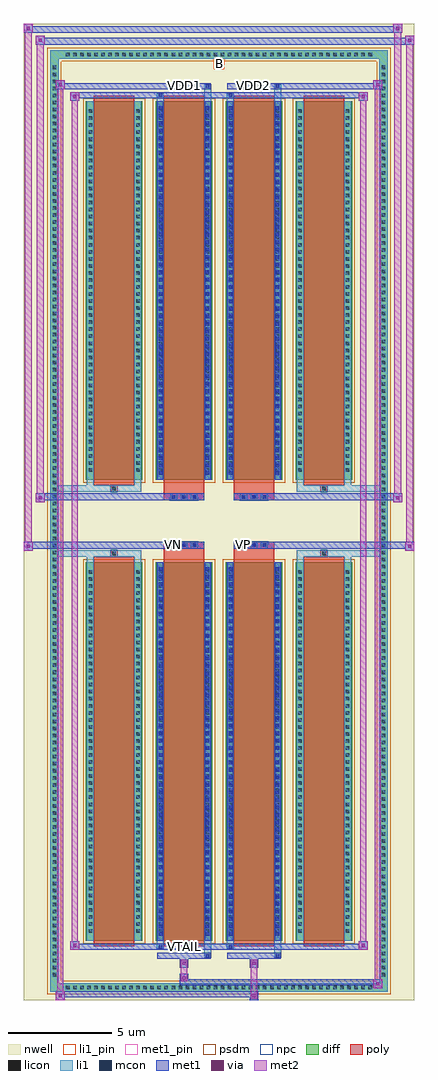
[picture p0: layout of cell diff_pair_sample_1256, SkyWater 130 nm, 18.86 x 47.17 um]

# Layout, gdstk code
import gdstk
lib = gdstk.Library(unit=1e-6, precision=5e-09)
def R(c, l, rs):  # rectangles x0, y0, x1, y1
    for r in rs: c.add(gdstk.rectangle(r[:2], r[2:], *l))
def A(c, l, x, y, w, h, nx, ny, dx, dy):  # array of equal rectangles
    R(c, l, [(x+i*dx, y+j*dy, x+i*dx+w, y+j*dy+h) for i in range(nx) for j in range(ny)])
def P(c, l, *ps):  # polygons
    for p in ps: c.add(gdstk.Polygon(p, *l))
nwell = (64, 20)
diff = (65, 20)
poly = (66, 20)
licon = (66, 44)
li1_pin = (67, 16)
li1 = (67, 20)
mcon = (67, 44)
met1_pin = (68, 16)
met1 = (68, 20)
via = (68, 44)
met2 = (69, 20)
psdm = (94, 20)
npc = (95, 20)

diff_pair_sample_1256 = lib.new_cell('diff_pair_sample_1256')
R(diff_pair_sample_1256, nwell, [(-9.43,-23.15,9.43,24.02), (-6.75,-21.34,-0.01,-0.8), (0.01,-21.34,6.75,-0.8), (-6.75,0.8,-0.01,21.34), (0.01,0.8,6.75,21.34)])
A(diff_pair_sample_1256, diff, -7.515, -22.75, 0.41, 0.41, 44, 2, 0.34, 45.09)
A(diff_pair_sample_1256, diff, -8.16, -22.135, 0.41, 0.41, 1, 130, 0, 0.34)
A(diff_pair_sample_1256, diff, 7.75, -22.135, 0.41, 0.41, 1, 130, 0, 0.34)
A(diff_pair_sample_1256, diff, -6.44, -20.295, 2.74, 18.31, 4, 2, 3.38, 22.28)
R(diff_pair_sample_1256, diff, [(-7.515,-22.75,7.515,-22.34), (-8.16,-22.135,-7.75,22.135), (7.75,-22.135,8.16,22.135), (-7.515,22.34,7.515,22.75)])
P(diff_pair_sample_1256, diff, [(8.16,22.75),(-8.16,22.75),(-8.16,-22.34),(-7.75,-22.34),(-7.75,22.34),(7.75,22.34),(7.75,-22.34),(-7.75,-22.34),(-8.16,-22.34),(-8.16,-22.75),(8.16,-22.75)])
A(diff_pair_sample_1256, poly, -6.05, -20.545, 1.96, 18.81, 4, 2, 3.38, 22.28)
A(diff_pair_sample_1256, poly, -2.355, -1.33, 0.33, 0.33, 3, 2, 0.5, 2.33)
A(diff_pair_sample_1256, poly, 1.025, -1.33, 0.33, 0.33, 3, 2, 0.5, 2.33)
R(diff_pair_sample_1256, poly, [(-5.235,-1.735,-4.905,-1.405), (-5.235,-1.735,-4.905,-1.405), (-2.67,-1.735,-0.71,-1.33), (0.71,-1.735,2.67,-1.33), (4.905,-1.735,5.235,-1.405), (4.905,-1.735,5.235,-1.405), (-2.67,-1.33,-0.71,-1), (0.71,-1.33,2.67,-1), (-2.67,1,-0.71,1.33), (0.71,1,2.67,1.33), (-2.67,1.33,-0.71,1.735), (0.71,1.33,2.67,1.735), (-5.235,1.405,-4.905,1.735), (-5.235,1.405,-4.905,1.735), (4.905,1.405,5.235,1.735), (4.905,1.405,5.235,1.735)])
A(diff_pair_sample_1256, licon, -7.395, -22.63, 0.17, 0.17, 44, 2, 0.34, 45.09)
A(diff_pair_sample_1256, licon, -8.04, -22.015, 0.17, 0.17, 1, 130, 0, 0.34)
A(diff_pair_sample_1256, licon, 7.87, -22.015, 0.17, 0.17, 1, 130, 0, 0.34)
A(diff_pair_sample_1256, licon, -6.3, -19.895, 0.17, 0.17, 1, 52, 0, 0.34)
A(diff_pair_sample_1256, licon, -4.01, -19.895, 0.17, 0.17, 1, 52, 0, 0.34)
A(diff_pair_sample_1256, licon, -2.92, -19.895, 0.17, 0.17, 1, 52, 0, 0.34)
A(diff_pair_sample_1256, licon, -0.63, -19.895, 0.17, 0.17, 1, 52, 0, 0.34)
A(diff_pair_sample_1256, licon, 0.46, -19.895, 0.17, 0.17, 1, 52, 0, 0.34)
A(diff_pair_sample_1256, licon, 2.75, -19.895, 0.17, 0.17, 1, 52, 0, 0.34)
A(diff_pair_sample_1256, licon, 3.84, -19.895, 0.17, 0.17, 1, 52, 0, 0.34)
A(diff_pair_sample_1256, licon, 6.13, -19.895, 0.17, 0.17, 1, 52, 0, 0.34)
A(diff_pair_sample_1256, licon, -2.275, -1.25, 0.17, 0.17, 3, 2, 0.5, 2.33)
A(diff_pair_sample_1256, licon, 1.105, -1.25, 0.17, 0.17, 3, 2, 0.5, 2.33)
A(diff_pair_sample_1256, licon, -6.3, 2.385, 0.17, 0.17, 1, 52, 0, 0.34)
A(diff_pair_sample_1256, licon, -4.01, 2.385, 0.17, 0.17, 1, 52, 0, 0.34)
A(diff_pair_sample_1256, licon, -2.92, 2.385, 0.17, 0.17, 1, 52, 0, 0.34)
A(diff_pair_sample_1256, licon, -0.63, 2.385, 0.17, 0.17, 1, 52, 0, 0.34)
A(diff_pair_sample_1256, licon, 0.46, 2.385, 0.17, 0.17, 1, 52, 0, 0.34)
A(diff_pair_sample_1256, licon, 2.75, 2.385, 0.17, 0.17, 1, 52, 0, 0.34)
A(diff_pair_sample_1256, licon, 3.84, 2.385, 0.17, 0.17, 1, 52, 0, 0.34)
A(diff_pair_sample_1256, licon, 6.13, 2.385, 0.17, 0.17, 1, 52, 0, 0.34)
R(diff_pair_sample_1256, licon, [(-5.155,-1.655,-4.985,-1.485), (4.985,-1.655,5.155,-1.485), (-5.155,1.485,-4.985,1.655), (4.985,1.485,5.155,1.655)])
R(diff_pair_sample_1256, li1_pin, [(-0.25,21.84,0.25,22.34)])
A(diff_pair_sample_1256, li1, -7.475, -22.71, 0.33, 0.33, 44, 2, 0.34, 45.09)
A(diff_pair_sample_1256, li1, -8.12, -22.095, 0.33, 0.33, 1, 130, 0, 0.34)
A(diff_pair_sample_1256, li1, 7.79, -22.095, 0.33, 0.33, 1, 130, 0, 0.34)
A(diff_pair_sample_1256, li1, -2.92, -20.045, 0.17, 0.17, 1, 50, 0, 0.36)
A(diff_pair_sample_1256, li1, -0.63, -20.045, 0.17, 0.17, 1, 50, 0, 0.36)
A(diff_pair_sample_1256, li1, 0.46, -20.045, 0.17, 0.17, 1, 50, 0, 0.36)
A(diff_pair_sample_1256, li1, 2.75, -20.045, 0.17, 0.17, 1, 50, 0, 0.36)
A(diff_pair_sample_1256, li1, -6.38, -19.975, 0.33, 0.33, 1, 52, 0, 0.34)
A(diff_pair_sample_1256, li1, -4.09, -19.975, 0.33, 0.33, 1, 52, 0, 0.34)
A(diff_pair_sample_1256, li1, -3, -19.975, 0.33, 0.33, 1, 52, 0, 0.34)
A(diff_pair_sample_1256, li1, -0.71, -19.975, 0.33, 0.33, 1, 52, 0, 0.34)
A(diff_pair_sample_1256, li1, 0.38, -19.975, 0.33, 0.33, 1, 52, 0, 0.34)
A(diff_pair_sample_1256, li1, 2.67, -19.975, 0.33, 0.33, 1, 52, 0, 0.34)
A(diff_pair_sample_1256, li1, 3.76, -19.975, 0.33, 0.33, 1, 52, 0, 0.34)
A(diff_pair_sample_1256, li1, 6.05, -19.975, 0.33, 0.33, 1, 52, 0, 0.34)
A(diff_pair_sample_1256, li1, -2.355, -1.33, 0.33, 0.33, 3, 2, 0.5, 2.33)
A(diff_pair_sample_1256, li1, 1.025, -1.33, 0.33, 0.33, 3, 2, 0.5, 2.33)
A(diff_pair_sample_1256, li1, -2.92, 2.235, 0.17, 0.17, 1, 50, 0, 0.36)
A(diff_pair_sample_1256, li1, -0.63, 2.235, 0.17, 0.17, 1, 50, 0, 0.36)
A(diff_pair_sample_1256, li1, 0.46, 2.235, 0.17, 0.17, 1, 50, 0, 0.36)
A(diff_pair_sample_1256, li1, 2.75, 2.235, 0.17, 0.17, 1, 50, 0, 0.36)
A(diff_pair_sample_1256, li1, -6.38, 2.305, 0.33, 0.33, 1, 52, 0, 0.34)
A(diff_pair_sample_1256, li1, -4.09, 2.305, 0.33, 0.33, 1, 52, 0, 0.34)
A(diff_pair_sample_1256, li1, -3, 2.305, 0.33, 0.33, 1, 52, 0, 0.34)
A(diff_pair_sample_1256, li1, -0.71, 2.305, 0.33, 0.33, 1, 52, 0, 0.34)
A(diff_pair_sample_1256, li1, 0.38, 2.305, 0.33, 0.33, 1, 52, 0, 0.34)
A(diff_pair_sample_1256, li1, 2.67, 2.305, 0.33, 0.33, 1, 52, 0, 0.34)
A(diff_pair_sample_1256, li1, 3.76, 2.305, 0.33, 0.33, 1, 52, 0, 0.34)
A(diff_pair_sample_1256, li1, 6.05, 2.305, 0.33, 0.33, 1, 52, 0, 0.34)
R(diff_pair_sample_1256, li1, [(-8.16,-22.75,-7.75,-22.34), (-8.16,-22.75,-7.75,-22.34), (-7.75,-22.75,7.75,-22.34), (7.75,-22.75,8.16,-22.34), (7.75,-22.75,8.16,-22.34), (-8.16,-22.34,-7.75,22.34), (7.75,-22.34,8.16,22.34), (-0.71,-21.1,-0.38,-20.295), (-0.63,-21.1,-0.46,-20.93), (2.67,-21.1,3,-20.295), (2.75,-21.1,2.92,-20.93), (-3,-20.67,-2.67,-20.295), (-2.92,-20.67,-2.75,-20.5), (0.38,-20.67,0.71,-20.295), (0.46,-20.67,0.63,-20.5), (-6.38,-20.295,-6.05,-1.985), (-4.09,-20.295,-3.76,-1.985), (-3,-20.295,-2.67,-1.985), (-0.71,-20.295,-0.38,-1.985), (0.38,-20.295,0.71,-1.985), (2.67,-20.295,3,-1.985), (3.76,-20.295,4.09,-1.985), (6.05,-20.295,6.38,-1.985), (-2.92,-20.045,-2.75,-2.235), (-0.63,-20.045,-0.46,-2.235), (0.46,-20.045,0.63,-2.235), (2.75,-20.045,2.92,-2.235), (-6.38,-1.985,-6.05,-1.405), (-4.09,-1.985,-3.76,-1.405), (3.76,-1.985,4.09,-1.405), (6.05,-1.985,6.38,-1.405), (-8.16,-1.735,-5.235,-1.405), (-6.38,-1.735,-5.235,-1.405), (-5.235,-1.735,-4.905,-1.405), (-4.905,-1.735,-3.76,-1.405), (3.76,-1.735,4.905,-1.405), (4.905,-1.735,5.235,-1.405), (4.905,-1.735,8.16,-1.405), (5.235,-1.735,6.38,-1.405), (-8.16,1.405,-5.235,1.735), (-6.38,1.405,-5.235,1.735), (-6.38,1.405,-6.05,1.985), (-5.235,1.405,-4.905,1.735), (-4.905,1.405,-3.76,1.735), (-4.09,1.405,-3.76,1.985), (3.76,1.405,4.905,1.735), (3.76,1.405,4.09,1.985), (4.905,1.405,5.235,1.735), (4.905,1.405,8.16,1.735), (5.235,1.405,6.38,1.735), (6.05,1.405,6.38,1.985), (-6.38,1.985,-6.05,20.295), (-4.09,1.985,-3.76,20.295), (-3,1.985,-2.67,20.295), (-0.71,1.985,-0.38,20.295), (0.38,1.985,0.71,20.295), (2.67,1.985,3,20.295), (3.76,1.985,4.09,20.295), (6.05,1.985,6.38,20.295), (-2.92,2.235,-2.75,20.045), (-0.63,2.235,-0.46,20.045), (0.46,2.235,0.63,20.045), (2.75,2.235,2.92,20.045), (-3,20.295,-2.67,20.67), (-0.71,20.295,-0.38,21.1), (0.38,20.295,0.71,20.67), (2.67,20.295,3,21.1), (-2.92,20.5,-2.75,20.67), (0.46,20.5,0.63,20.67), (-0.63,20.93,-0.46,21.1), (2.75,20.93,2.92,21.1), (-8.16,22.34,-7.75,22.75), (-8.16,22.34,-7.75,22.75), (-7.75,22.34,7.75,22.75), (7.75,22.34,8.16,22.75), (7.75,22.34,8.16,22.75)])
A(diff_pair_sample_1256, mcon, -2.92, -20.045, 0.17, 0.17, 1, 50, 0, 0.36)
A(diff_pair_sample_1256, mcon, -0.63, -20.045, 0.17, 0.17, 1, 50, 0, 0.36)
A(diff_pair_sample_1256, mcon, 0.46, -20.045, 0.17, 0.17, 1, 50, 0, 0.36)
A(diff_pair_sample_1256, mcon, 2.75, -20.045, 0.17, 0.17, 1, 50, 0, 0.36)
A(diff_pair_sample_1256, mcon, -2.275, -1.25, 0.17, 0.17, 3, 2, 0.5, 2.33)
A(diff_pair_sample_1256, mcon, 1.105, -1.25, 0.17, 0.17, 3, 2, 0.5, 2.33)
A(diff_pair_sample_1256, mcon, -2.92, 2.235, 0.17, 0.17, 1, 50, 0, 0.36)
A(diff_pair_sample_1256, mcon, -0.63, 2.235, 0.17, 0.17, 1, 50, 0, 0.36)
A(diff_pair_sample_1256, mcon, 0.46, 2.235, 0.17, 0.17, 1, 50, 0, 0.36)
A(diff_pair_sample_1256, mcon, 2.75, 2.235, 0.17, 0.17, 1, 50, 0, 0.36)
R(diff_pair_sample_1256, mcon, [(-0.63,-21.1,-0.46,-20.93), (2.75,-21.1,2.92,-20.93), (-2.92,-20.67,-2.75,-20.5), (0.46,-20.67,0.63,-20.5), (-2.92,20.5,-2.75,20.67), (0.46,20.5,0.63,20.67), (-0.63,20.93,-0.46,21.1), (2.75,20.93,2.92,21.1)])
R(diff_pair_sample_1256, met1_pin, [(-1.825,-20.71,-1.555,-20.44), (-2.325,-1.29,-2.055,-1.02), (1.055,-1.29,1.325,-1.02), (-1.825,20.89,-1.555,21.16), (1.555,20.89,1.825,21.16)])
A(diff_pair_sample_1256, met1, -2.98, -20.105, 0.29, 0.29, 1, 50, 0, 0.36)
A(diff_pair_sample_1256, met1, -0.69, -20.105, 0.29, 0.29, 1, 50, 0, 0.36)
A(diff_pair_sample_1256, met1, 0.4, -20.105, 0.29, 0.29, 1, 50, 0, 0.36)
A(diff_pair_sample_1256, met1, 2.69, -20.105, 0.29, 0.29, 1, 50, 0, 0.36)
A(diff_pair_sample_1256, met1, -2.335, -1.31, 0.29, 0.29, 3, 2, 0.5, 2.33)
A(diff_pair_sample_1256, met1, 1.045, -1.31, 0.29, 0.29, 3, 2, 0.5, 2.33)
A(diff_pair_sample_1256, met1, -2.98, 2.175, 0.29, 0.29, 1, 50, 0, 0.36)
A(diff_pair_sample_1256, met1, -0.69, 2.175, 0.29, 0.29, 1, 50, 0, 0.36)
A(diff_pair_sample_1256, met1, 0.4, 2.175, 0.29, 0.29, 1, 50, 0, 0.36)
A(diff_pair_sample_1256, met1, 2.69, 2.175, 0.29, 0.29, 1, 50, 0, 0.36)
R(diff_pair_sample_1256, met1, [(-7.89,-23.15,-7.46,-22.72), (1.475,-23.15,1.905,-22.72), (-7.89,-23.01,1.905,-22.72), (7.46,-22.58,7.89,-22.15), (-1.905,-22.44,7.89,-22.15), (-1.905,-22.3,-1.475,-21.87), (-1.905,-21.59,-1.475,-21.16), (1.475,-21.59,1.905,-21.16), (-2.98,-21.16,-0.4,-20.87), (-0.69,-21.16,-0.4,-20.87), (0.4,-21.16,2.98,-20.87), (2.69,-21.16,2.98,-20.87), (-7.18,-20.73,-6.75,-20.3), (-7.18,-20.73,-2.98,-20.44), (-2.98,-20.73,-2.69,-20.44), (-2.98,-20.73,-0.4,-20.44), (-0.4,-20.73,0.4,-20.44), (0.4,-20.73,0.69,-20.44), (0.4,-20.73,2.98,-20.44), (2.98,-20.73,7.18,-20.44), (6.75,-20.73,7.18,-20.3), (-2.98,-20.295,-2.69,-1.985), (-0.69,-20.295,-0.4,-1.985), (0.4,-20.295,0.69,-1.985), (2.69,-20.295,2.98,-1.985), (-9.43,-1.43,-9,-1), (9,-1.43,9.43,-1), (-9.43,-1.33,-0.71,-1), (-2.67,-1.33,-0.71,-1), (0.71,-1.33,2.67,-1), (0.71,-1.33,9.43,-1), (-8.86,0.9,-8.43,1.33), (8.43,0.9,8.86,1.33), (-8.86,1,-2.67,1.33), (-2.67,1,-0.71,1.33), (0.71,1,2.67,1.33), (2.67,1,8.86,1.33), (-2.98,1.985,-2.69,20.295), (-0.69,1.985,-0.4,20.295), (0.4,1.985,0.69,20.295), (2.69,1.985,2.98,20.295), (-7.18,20.3,-6.75,20.73), (6.75,20.3,7.18,20.73), (-7.18,20.44,-2.98,20.73), (-2.98,20.44,-2.69,20.73), (-2.98,20.44,-0.4,20.73), (-0.4,20.44,0.4,20.73), (0.4,20.44,0.69,20.73), (0.4,20.44,2.98,20.73), (2.98,20.44,7.18,20.73), (-7.89,20.87,-7.46,21.3), (-7.89,20.87,-2.98,21.16), (-2.98,20.87,-0.4,21.16), (-0.69,20.87,-0.4,21.16), (0.4,20.87,2.98,21.16), (2.69,20.87,2.98,21.16), (2.98,20.87,7.89,21.16), (7.46,20.87,7.89,21.3), (-8.86,23.02,-8.43,23.45), (-8.86,23.02,-6.75,23.35), (-6.75,23.02,6.75,23.35), (6.75,23.02,9.43,23.35), (9,23.02,9.43,23.45), (-9.43,23.59,-9,24.02), (-9.43,23.59,-6.75,23.92), (-6.75,23.59,6.75,23.92), (6.75,23.59,8.86,23.92), (8.43,23.59,8.86,24.02)])
R(diff_pair_sample_1256, via, [(-7.75,-23.01,-7.6,-22.86), (1.615,-23.01,1.765,-22.86), (7.6,-22.44,7.75,-22.29), (-1.765,-22.16,-1.615,-22.01), (-1.765,-21.45,-1.615,-21.3), (1.615,-21.45,1.765,-21.3), (-7.04,-20.59,-6.89,-20.44), (6.89,-20.59,7.04,-20.44), (-9.29,-1.29,-9.14,-1.14), (9.14,-1.29,9.29,-1.14), (-8.72,1.04,-8.57,1.19), (8.57,1.04,8.72,1.19), (-7.04,20.44,-6.89,20.59), (6.89,20.44,7.04,20.59), (-7.75,21.01,-7.6,21.16), (7.6,21.01,7.75,21.16), (-8.72,23.16,-8.57,23.31), (9.14,23.16,9.29,23.31), (-9.29,23.73,-9.14,23.88), (8.57,23.73,8.72,23.88)])
R(diff_pair_sample_1256, met2, [(-7.89,-23.15,-7.46,-22.72), (-7.82,-23.15,-7.53,21.3), (-7.53,-23.15,-7.46,-22.72), (-7.84,-23.1,-7.51,-22.77), (1.525,-23.1,1.855,-22.77), (1.525,-22.77,1.855,-21.54), (7.46,-22.58,7.89,-22.15), (7.53,-22.58,7.82,21.3), (7.82,-22.58,7.89,-22.15), (7.51,-22.53,7.84,-22.2), (-1.855,-22.25,-1.525,-21.92), (-1.855,-21.92,-1.525,-21.54), (-1.855,-21.54,-1.525,-21.21), (1.525,-21.54,1.855,-21.21), (-7.18,-20.73,-6.75,-20.3), (-7.11,-20.73,-6.82,20.73), (-6.82,-20.73,-6.75,-20.3), (6.75,-20.73,7.18,-20.3), (6.82,-20.73,7.11,20.73), (7.11,-20.73,7.18,-20.3), (-7.13,-20.68,-6.8,-20.35), (6.8,-20.68,7.13,-20.35), (-9.43,-1.43,-9,-1), (-9.38,-1.43,-9.05,24.02), (-9.05,-1.43,-9,-1), (9,-1.43,9.43,-1), (9.05,-1.43,9.38,23.45), (9.38,-1.43,9.43,-1), (-9.38,-1.38,-9.05,-1.05), (9.05,-1.38,9.38,-1.05), (-8.86,0.9,-8.43,1.33), (-8.81,0.9,-8.48,23.45), (-8.48,0.9,-8.43,1.33), (8.43,0.9,8.86,1.33), (8.48,0.9,8.81,24.02), (8.81,0.9,8.86,1.33), (-8.81,0.95,-8.48,1.28), (8.48,0.95,8.81,1.28), (-7.18,20.3,-6.75,20.73), (-6.82,20.3,-6.75,20.73), (6.75,20.3,7.18,20.73), (7.11,20.3,7.18,20.73), (-7.13,20.35,-6.8,20.68), (6.8,20.35,7.13,20.68), (-7.89,20.87,-7.46,21.3), (-7.53,20.87,-7.46,21.3), (7.46,20.87,7.89,21.3), (7.82,20.87,7.89,21.3), (-7.84,20.92,-7.51,21.25), (7.51,20.92,7.84,21.25), (-8.86,23.02,-8.43,23.45), (-8.48,23.02,-8.43,23.45), (9,23.02,9.43,23.45), (9.38,23.02,9.43,23.45), (-8.81,23.07,-8.48,23.4), (9.05,23.07,9.38,23.4), (-9.43,23.59,-9,24.02), (-9.05,23.59,-9,24.02), (8.43,23.59,8.86,24.02), (8.81,23.59,8.86,24.02), (-9.38,23.64,-9.05,23.97), (8.48,23.64,8.81,23.97)])
A(diff_pair_sample_1256, psdm, -6.57, -20.425, 3, 18.57, 4, 2, 3.38, 22.28)
P(diff_pair_sample_1256, psdm, [(8.29,22.88),(-8.29,22.88),(-8.29,-22.21),(-7.62,-22.21),(-7.62,22.21),(7.62,22.21),(7.62,-22.21),(-7.62,-22.21),(-8.29,-22.21),(-8.29,-22.88),(8.29,-22.88)])
A(diff_pair_sample_1256, npc, -2.375, -1.35, 0.37, 0.37, 3, 2, 0.5, 2.33)
A(diff_pair_sample_1256, npc, 1.005, -1.35, 0.37, 0.37, 3, 2, 0.5, 2.33)
R(diff_pair_sample_1256, npc, [(-5.255,-1.755,-4.885,-1.385), (4.885,-1.755,5.255,-1.385), (-2.375,-1.35,-1.505,-0.98), (-2.375,-1.35,-1.505,-0.98), (-1.875,-1.35,-1.005,-0.98), (-1.875,-1.35,-1.005,-0.98), (1.005,-1.35,1.875,-0.98), (1.005,-1.35,1.875,-0.98), (1.505,-1.35,2.375,-0.98), (1.505,-1.35,2.375,-0.98), (-2.375,0.98,-1.505,1.35), (-2.375,0.98,-1.505,1.35), (-1.875,0.98,-1.005,1.35), (-1.875,0.98,-1.005,1.35), (1.005,0.98,1.875,1.35), (1.005,0.98,1.875,1.35), (1.505,0.98,2.375,1.35), (1.505,0.98,2.375,1.35), (-5.255,1.385,-4.885,1.755), (4.885,1.385,5.255,1.755)])
diff_pair_sample_1256.add(gdstk.Label('VTAIL', (-1.69,-20.575), layer=68, texttype=5))
diff_pair_sample_1256.add(gdstk.Label('VN', (-2.19,-1.155), layer=68, texttype=5))
diff_pair_sample_1256.add(gdstk.Label('VP', (1.19,-1.155), layer=68, texttype=5))
diff_pair_sample_1256.add(gdstk.Label('B', (0,22.09), layer=67, texttype=5))
diff_pair_sample_1256.add(gdstk.Label('VDD2', (1.69,21.025), layer=68, texttype=5))
diff_pair_sample_1256.add(gdstk.Label('VDD1', (-1.69,21.025), layer=68, texttype=5))

lib.write_gds('diff_pair_sample_1256.gds')
